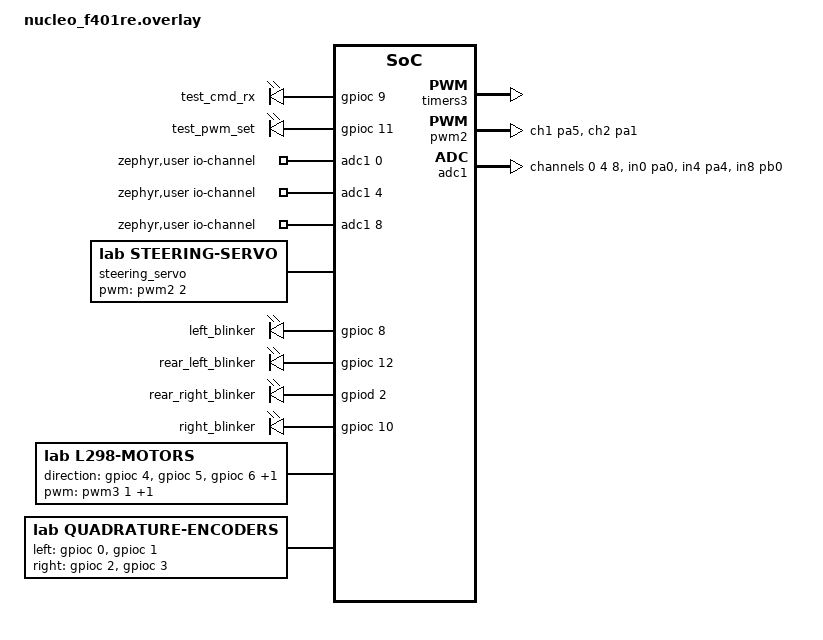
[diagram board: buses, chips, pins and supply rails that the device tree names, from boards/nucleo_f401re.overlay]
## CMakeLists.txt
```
cmake_minimum_required(VERSION 3.20.0)
# The application requires the motor and encoder nodes from this overlay.
if(NOT DTC_OVERLAY_FILE)
  set(DTC_OVERLAY_FILE "${CMAKE_CURRENT_SOURCE_DIR}/boards/nucleo_f401re.overlay")
endif()

find_package(Zephyr REQUIRED HINTS $ENV{ZEPHYR_BASE})
project(lab2)

target_sources(app PRIVATE
  src/current_conversion.c
  src/current_sensor.c
  src/blinker.c
  src/console_status.c
  src/test_points.c
  src/main.c
  src/encoder.c
  src/encoder_monitor.c
  src/motor.c
  src/motor_controller.c
  src/pedal_control.c
  src/quadrature.c
  src/servo.c
  src/uart_receiver.c
  src/uart_protocol.c
  src/uart_status.c
)
target_include_directories(app PRIVATE include)
```

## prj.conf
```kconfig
# Debug output through the board's default ST-LINK virtual COM port.
CONFIG_SERIAL=y
CONFIG_CONSOLE=y
CONFIG_UART_CONSOLE=y
CONFIG_PRINTK=y

# Keep source-level debugging straightforward during bring-up.
CONFIG_DEBUG_OPTIMIZATIONS=y
CONFIG_DEBUG_THREAD_INFO=y
CONFIG_STM32_ENABLE_DEBUG_SLEEP_STOP=y

# Receive framed USART1 commands using an interrupt-driven parser.
CONFIG_UART_INTERRUPT_DRIVEN=y

# Both edges of each quadrature channel are counted by GPIO interrupts.
CONFIG_GPIO=y
CONFIG_PWM=y
CONFIG_ADC=y
```

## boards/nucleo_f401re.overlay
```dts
#include <zephyr/dt-bindings/gpio/gpio.h>
#include <zephyr/dt-bindings/pwm/pwm.h>
#include <zephyr/dt-bindings/adc/adc.h>

/ {
	test_points {
		compatible = "gpio-leds";
		test_cmd_rx: command_rx {
			gpios = <&gpioc 9 GPIO_ACTIVE_HIGH>;
		};
		test_pwm_set: pwm_set {
			gpios = <&gpioc 11 GPIO_ACTIVE_HIGH>;
		};
	};
	zephyr,user {
		/* ACS712 divided outputs: left A0/PA0, right A2/PA4, servo A3/PB0. */
		io-channels = <&adc1 0>, <&adc1 4>, <&adc1 8>;
	};
	steering_servo: steering-servo {
		compatible = "lab,steering-servo";
		/* Initial hobby-servo assumption: 20 ms period (50 Hz), active high. */
		pwms = <&pwm2 2 PWM_MSEC(20) PWM_POLARITY_NORMAL>;
	};
	blinkers {
		compatible = "gpio-leds";
		left_blinker: left_blinker {
			gpios = <&gpioc 8 GPIO_ACTIVE_HIGH>;
		};
		rear_left_blinker: rear_left_blinker {
			gpios = <&gpioc 12 GPIO_ACTIVE_HIGH>;
		};
		rear_right_blinker: rear_right_blinker {
			gpios = <&gpiod 2 GPIO_ACTIVE_HIGH>;
		};
		right_blinker: right_blinker {
			gpios = <&gpioc 10 GPIO_ACTIVE_HIGH>;
		};
	};
	motors {
		compatible = "lab,l298-motors";
		/* ENA/ENB: TIM3 CH1/CH2, 10 kHz (8400 ticks at 84 MHz). */
		pwms = <&pwm3 1 PWM_HZ(10000) PWM_POLARITY_NORMAL>,
		       <&pwm3 2 PWM_HZ(10000) PWM_POLARITY_NORMAL>;
		/* IN1, IN2, IN3, IN4 respectively. */
		direction-gpios = <&gpioc 4 GPIO_ACTIVE_HIGH>,
				  <&gpioc 5 GPIO_ACTIVE_HIGH>,
				  <&gpioc 6 GPIO_ACTIVE_HIGH>,
				  <&gpioc 7 GPIO_ACTIVE_HIGH>;
	};
	/* Weak pull-downs hold disconnected inputs quiet; verify sensor levels. */
	encoders {
		compatible = "lab,quadrature-encoders";
		left-gpios = <&gpioc 0 GPIO_PULL_DOWN>, <&gpioc 1 GPIO_PULL_DOWN>;
		right-gpios = <&gpioc 2 GPIO_PULL_DOWN>, <&gpioc 3 GPIO_PULL_DOWN>;
	};
};

&timers3 {
	status = "okay";
	pwm3: pwm {
		status = "okay";
		pinctrl-0 = <&tim3_ch1_pb4 &tim3_ch2_pb5>;
		pinctrl-names = "default";
	};
};

/* Keep steering on TIM2 so its 50 Hz period cannot change motor TIM3's 10 kHz PWM. */
&pwm2 {
	pinctrl-0 = <&tim2_ch1_pa5 &tim2_ch2_pa1>;
	pinctrl-names = "default";
};

&adc1 {
	pinctrl-0 = <&adc1_in0_pa0 &adc1_in4_pa4 &adc1_in8_pb0>;
	pinctrl-names = "default";
	status = "okay";
	#address-cells = <1>;
	#size-cells = <0>;
	/* Long acquisition time is an initial choice for externally conditioned signals. */
	channel@0 {
		reg = <0>;
		zephyr,gain = "ADC_GAIN_1";
		zephyr,reference = "ADC_REF_INTERNAL";
		zephyr,acquisition-time = <ADC_ACQ_TIME_MAX>;
		zephyr,resolution = <12>;
	};
	channel@4 {
		reg = <4>;
		zephyr,gain = "ADC_GAIN_1";
		zephyr,reference = "ADC_REF_INTERNAL";
		zephyr,acquisition-time = <ADC_ACQ_TIME_MAX>;
		zephyr,resolution = <12>;
	};
	channel@8 {
		reg = <8>;
		zephyr,gain = "ADC_GAIN_1";
		zephyr,reference = "ADC_REF_INTERNAL";
		zephyr,acquisition-time = <ADC_ACQ_TIME_MAX>;
		zephyr,resolution = <12>;
	};
};

/* Reserve PC9 for CMD_RX instead of the board default I2C3 SDA. */
&i2c3 {
	status = "disabled";
};
```

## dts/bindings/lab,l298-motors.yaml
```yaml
description: Two L298 bridges with PWM enables and four direction inputs
compatible: "lab,l298-motors"
include: base.yaml
properties:
  pwms:
    type: phandle-array
    required: true
  direction-gpios:
    type: phandle-array
    required: true
```

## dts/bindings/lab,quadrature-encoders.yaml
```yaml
description: Two software quadrature encoders, A then B for each GPIO pair
compatible: "lab,quadrature-encoders"
include: base.yaml
properties:
  left-gpios:
    type: phandle-array
    required: true
  right-gpios:
    type: phandle-array
    required: true
```

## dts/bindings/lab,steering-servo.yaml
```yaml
description: Steering servo driven by a dedicated hardware PWM channel
compatible: "lab,steering-servo"
include: base.yaml
properties:
  pwms:
    type: phandle-array
    required: true
    description: PWM channel and servo repetition period
```

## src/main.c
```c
/** @file main.c
 * @brief Driver initialization and worker startup.
 */
#include <zephyr/sys/printk.h>
#include "blinker.h"
#include "encoder.h"
#include "encoder_monitor.h"
#include "motor.h"
#include "test_points.h"
#include "motor_controller.h"
#include "uart_receiver.h"
#include "uart_status.h"
#include "servo.h"
#include "current_sensor.h"

/**
 * @brief Initialize drivers and start UART motor control and encoder monitoring.
 * @return 0 after startup, or a negative initialization error.
 */
int main(void)
{
	printk("Lab 2: wheel UART receiver on %s\n", CONFIG_BOARD_TARGET);
	int ret = test_points_init();
	if (ret != 0) {
		printk("Test-point initialization failed: %d\n", ret);
		return ret;
	}
	ret = motors_init();
	if (ret != 0) {
		printk("Motor initialization failed: %d\n", ret);
		return ret;
	}
	printk("Motors initialized in coast\n");
	ret = encoders_init();
	if (ret != 0) {
		printk("Encoder initialization failed: %d\n", ret);
		return ret;
	}
	printk("Encoders: left PC0=A PC1=B; right PC2=A PC3=B (x4)\n");
	ret = blinker_init();
	if (ret != 0) {
		printk("Blinker initialization failed: %d\n", ret);
		return ret;
	}
	ret = servo_init();
	if (ret != 0) {
		printk("Servo initialization failed: %d\n", ret);
		return ret;
	}
	printk("Servo: PA1, trial center=%u us\n", SERVO_CENTER_PULSE_US);
	ret = motor_controller_start();
	if (ret != 0) {
		printk("Speed controller start failed: %d\n", ret);
		return ret;
	}
	/* UART submits commands only after drivers and the PID worker are ready. */
	ret = uart_receiver_start();
	if (ret != 0) {
		printk("UART receiver start failed: %d\n", ret);
		return ret;
	}
	ret = uart_status_start();
	if (ret != 0) {
		int brake_ret = motor_controller_stop();

		printk("UART status start failed: %d; brake=%d\n", ret, brake_ret);
		return ret;
	}
	ret = current_sensor_start();
	if (ret != 0) {
		/* Lab 2 current sensing is read-only; heartbeat reports unavailable data. */
		printk("Current sensor start failed: %d; telemetry unavailable\n", ret);
	}
	ret = encoder_monitor_start();
	if (ret != 0) {
		printk("Encoder monitor start failed: %d\n", ret);
	}
	return ret;
}
```

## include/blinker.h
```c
/** @file blinker.h
 * @brief Mutually exclusive left/right GPIO blinkers.
 */
#ifndef BLINKER_H_
#define BLINKER_H_

#include <stdbool.h>
#include <stdint.h>

/** @brief Normal indicators blink once per second; choose a positive divisor of 500 Hz. */
#define BLINKER_RATE_HZ        1U
/** @brief Equal half-periods give 50% duty; 2 Hz gives 250 ms per phase. */
#define BLINKER_HALF_PERIOD_MS (1000U / (2U * BLINKER_RATE_HZ))
/** @brief Stack bytes; 1024 is an initial budget for GPIO updates and error reporting. */
#define BLINKER_STACK_SIZE     1024
/** @brief Priority 3 lets hazard changes run promptly ahead of routine reporting. */
#define BLINKER_PRIORITY       3

/** @brief The two indicator sides (each has front and rear outputs); enabling one side cancels the other. */
enum blinker_side {
	BLINKER_LEFT,
	BLINKER_RIGHT,
	BLINKER_COUNT
};

/** @brief Per-output timing state; module-owned instances are private. */
struct blinker_state {
	bool enabled;
	bool active;
	bool level;
	int64_t next_edge_ms;
};

/**
 * @brief Initialize all four outputs off and start the worker; call once from main.
 * @return 0 on success, -EALREADY if started, or a negative GPIO error.
 */
int blinker_init(void);

/**
 * @brief Request blinking or steady off; the worker applies changes when scheduled.
 * @param side BLINKER_LEFT or BLINKER_RIGHT.
 * @param enabled True to blink (cancelling the other side), false to turn off; repeated
 *        values preserve blink phase.
 * @return 0 on success, -EINVAL for an invalid side, or -ENODEV before initialization.
 */
int blinker_set(enum blinker_side side, bool enabled);

/** @brief Fault hazards use the required 2 Hz rate, independent of normal indicators. */
#define BLINKER_HAZARD_RATE_HZ 2U
/** @brief Ten degrees is the initial estimated servo displacement for auto-cancel. */
#define BLINKER_CANCEL_DEGREES 10U
/**
 * @brief Override normal indicators with synchronized hazards, clearing normal selections.
 * @param enabled True during any fail-safe or self-test.
 * @return 0 on success, or -ENODEV before initialization.
 */
int blinker_hazards(bool enabled);
/**
 * @brief Toggle a normal indicator; turning one on cancels the other; ignored during hazards.
 * @param side Left or right indicator.
 * @return 0 on success, or a negative argument/state error.
 */
int blinker_toggle(enum blinker_side side);
/**
 * @brief Arm on a turn past the threshold and cancel on its return below the threshold.
 * @param angle_mdeg Commanded servo angle: negative left, positive right.
 */
void blinker_steering(int32_t angle_mdeg);

#endif /* BLINKER_H_ */
```

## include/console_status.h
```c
/** @file console_status.h
 * @brief Fixed, in-place console status rows for periodic diagnostics.
 */
#ifndef CONSOLE_STATUS_H_
#define CONSOLE_STATUS_H_

/** @brief Set to 0 to restore plain scrolling lines for terminals without ANSI support. */
#define CONSOLE_STATUS_INPLACE 1
/** @brief Longest status line in bytes; 160 fits the current PID/ENC/CURRENT formats. */
#define CONSOLE_STATUS_LINE_MAX 160

/** @brief Pinned rows, top to bottom; event messages scroll beneath them. */
enum console_status_row {
	CONSOLE_STATUS_PID,
	CONSOLE_STATUS_ENC,
	CONSOLE_STATUS_CURRENT,
	CONSOLE_STATUS_ROW_COUNT
};

/**
 * @brief Redraw one pinned row if its text changed; never blocks the calling thread.
 * @param row Row to update.
 * @param format printk-style format for the whole row, without a trailing newline.
 */
void console_status_print(enum console_status_row row, const char *format, ...);

#endif /* CONSOLE_STATUS_H_ */
```

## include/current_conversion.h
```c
/** @file current_conversion.h
 * @brief Portable conversion of ADC-pin voltage to signed current.
 */
#ifndef CURRENT_CONVERSION_H_
#define CURRENT_CONVERSION_H_

#include <stdbool.h>
#include <stdint.h>

/** @brief Per-sensor calibration measured at the MCU pin, after any voltage divider. */
struct current_calibration {
	int32_t zero_uv;
	int32_t uv_per_amp;
};

/**
 * @brief Convert voltage to milliamps without inventing an unknown calibration.
 * @param voltage_uv Voltage at the ADC pin in microvolts.
 * @param calibration Zero-current offset and signed sensitivity; zero sensitivity is unset.
 * @param milliamps Output, cleared on failure; limited to the signed 16-bit wire range.
 * @return True on success, false for missing calibration or unrepresentable current.
 */
bool current_conversion_ma(int32_t voltage_uv, const struct current_calibration *calibration,
			   int16_t *milliamps);

#endif /* CURRENT_CONVERSION_H_ */
```

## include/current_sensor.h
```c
/** @file current_sensor.h
 * @brief Read-only left-motor, right-motor, and servo current monitoring.
 */
#ifndef CURRENT_SENSOR_H_
#define CURRENT_SENSOR_H_

#include <stdint.h>

/** @brief Three sensors in wire order: left motor, right motor, servo. */
#define CURRENT_SENSOR_COUNT 3U
/** @brief Sample each input every 10 ms; initial rate for bring-up, not measured timing. */
#define CURRENT_SENSOR_PERIOD_MS 10U
/** @brief Reject data older than 100 ms even if the sampling worker stops progressing. */
#define CURRENT_SENSOR_STALE_MS 100U
/** @brief Nominal ADC reference; replace with measured VDDA for accurate conversion. */
#define CURRENT_SENSOR_REFERENCE_UV 3300000
/** @brief STM32F401 ADC resolution selected for these channels. */
#define CURRENT_SENSOR_RESOLUTION 12U
/** @brief Average four scans (40 ms window) to reduce PWM noise during bring-up. */
#define CURRENT_SENSOR_AVERAGE_SAMPLES 4U
/** @brief Priority 5 keeps sampling below heartbeat, fault handling, and motor PID. */
#define CURRENT_SENSOR_PRIORITY 5
/** @brief Initial sampling-thread stack budget, not a measured high-water mark. */
#define CURRENT_SENSOR_STACK_SIZE 1536
/** @brief Print at 10 Hz so the recorder gets ~10 readings per 1 s stall test. */
#define CURRENT_SENSOR_PRINT_MS 100U

/* ACS712 powered at 5 V, with separate 10k/10k dividers on OUT: ADC voltage = OUT/2.
 * Confirmed 5A modules use nominal 185 mV/A, divided to 92500 uV/A at the ADC.
 * Nominal zero is 1.25 V at the ADC; replace with each measured zero-current voltage.
 * Nominal ADC-pin sensitivities: 5A=92500, 20A=50000, 30A=33000 uV/A.
 * See CURRENT_SENSOR_WIRING.md. Do not use undivided ACS712 sensitivities here.
 */
/** @brief Left zero: idle mean after fixing the buck ground on 10/01, 12 V on, wheels stopped. */
#define CURRENT_SENSOR_LEFT_ZERO_UV 1321300
/** @brief Nominal 185 mV/A halved by 10k/10k; negative: left stall lowered OUT by 61 mV. */
#define CURRENT_SENSOR_LEFT_UV_PER_AMP (-92500)
/** @brief Right zero: idle mean after fixing the buck ground on 10/01, 12 V on, wheels stopped. */
#define CURRENT_SENSOR_RIGHT_ZERO_UV 1334000
/** @brief Nominal 185 mV/A halved by 10k/10k; right stall raised OUT by 96 mV. */
#define CURRENT_SENSOR_RIGHT_UV_PER_AMP 92500
/** @brief Servo zero: idle mean after the buck ground fix on 10/01; includes holding current. */
#define CURRENT_SENSOR_SERVO_ZERO_UV 1325000
/** @brief Nominal 185 mV/A halved by 10k/10k; negative because servo stall lowered OUT. */
#define CURRENT_SENSOR_SERVO_UV_PER_AMP (-92500)

/** @brief Coherent scan; valid bits refer to calibrated current, not sensor presence. */
struct current_sensor_snapshot {
	uint16_t raw[CURRENT_SENSOR_COUNT];
	int32_t voltage_uv[CURRENT_SENSOR_COUNT];
	int16_t milliamps[CURRENT_SENSOR_COUNT];
	uint8_t valid_mask;
	uint8_t sampled_mask;
	int64_t timestamp_ms;
};

/**
 * @brief Configure ADC inputs and start the read-only worker once from main.
 * @return 0 on success or negative initialization error; no actuator state is changed.
 */
int current_sensor_start(void);
/**
 * @brief Copy the latest scan, clearing current validity if stale or not yet sampled.
 * @param out Non-null destination; may be read from thread context before startup.
 */
void current_sensor_snapshot(struct current_sensor_snapshot *out);

#endif /* CURRENT_SENSOR_H_ */
```

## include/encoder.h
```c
/** @file encoder.h
 * @brief Encoder API and constants.
 */
#ifndef ENCODER_H_
#define ENCODER_H_

#include <stdint.h>

/** @brief 1320 measured x4 counts per wheel revolution; do not multiply by four again. */
#define ENCODER_COUNTS_PER_REV 1320

/** @brief Indices for the two wheel channels and their count. */
enum encoder_side {
	ENCODER_LEFT,
	ENCODER_RIGHT,
	ENCODER_COUNT
};

struct encoder_snapshot {
	int64_t counts[ENCODER_COUNT];
	uint32_t invalid_transitions[ENCODER_COUNT];
	uint32_t read_errors;
	int64_t timestamp_ms;
};

/* Call once with wheels stationary. Counts start at zero, not absolute angle. */
/**
 * @brief Initialize both encoders once with the wheels stationary.
 * @return 0 on success, or a negative initialization error.
 */
int encoders_init(void);
/* Thread-context coherent snapshot of both wheels; caller supplies storage. */
/**
 * @brief Copy a coherent encoder snapshot from thread context.
 * @param out Non-null caller-owned destination.
 */
void encoders_snapshot(struct encoder_snapshot *out);

#endif /* ENCODER_H_ */
```

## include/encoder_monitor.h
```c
/** @file encoder_monitor.h
 * @brief Encoder monitor API and constants.
 */
#ifndef ENCODER_MONITOR_H_
#define ENCODER_MONITOR_H_

/** @brief Report every 100 ms to retain the existing 10 Hz console rate. */
#define ENCODER_MONITOR_PERIOD_MS 100
/** @brief Stack bytes; 1536 is an initial budget for snapshot calculations and printing. */
#define ENCODER_MONITOR_STACK_SIZE 1536
/** @brief Priority 6 lets the priority-5 UART worker run before reporting. */
#define ENCODER_MONITOR_PRIORITY 6

/**
 * @brief Start reporting once, after encoders_init(); call from main only.
 * @return 0 when started, or -EALREADY if already started.
 */
int encoder_monitor_start(void);

#endif /* ENCODER_MONITOR_H_ */
```

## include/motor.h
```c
/** @file motor.h
 * @brief Motor API and constants.
 */
#ifndef MOTOR_H_
#define MOTOR_H_

#include <stdint.h>

/** @brief Full duty is 65535 to preserve every step of the 16-bit throttle range. */
#define MOTOR_DUTY_FULL_SCALE 65535U

/** @brief Indices for the two wheel channels and their count. */
enum motor_side {
	MOTOR_LEFT,
	MOTOR_RIGHT,
	MOTOR_COUNT
};

/* Thread context only. Calls serialize; never invoke from a GPIO/UART ISR.
 * Errors are negative errno values. Initialization leaves both enables LOW.
 * This driver provides output control, not a PID loop or link-loss watchdog.
 */
/**
 * @brief Initialize both motor outputs in coast; call from thread context.
 * @return 0 on success, or a negative initialization error.
 */
int motors_init(void);

/* Signed duty in thousandths: +200 = 20%, -200 = reverse 20%, 0 = coast.
 * Out-of-range values are rejected without changing outputs.
 * -EPERM while brake latched, -EIO after a hardware fault.
 * Direct powered reversal returns -EBUSY: coast/brake and wait for the
 * encoder to show a stopped wheel before requesting the opposite direction.
 */
/**
 * @brief Set motor duty in signed thousandths from thread context.
 * @param side MOTOR_LEFT or MOTOR_RIGHT.
 * @param duty_permille Duty in -1000..1000; zero coasts.
 * @return 0 on success, or a negative error; see motor.h for interlocks.
 */
int motor_drive(enum motor_side side, int duty_permille);

/**
 * @brief Set signed duty, rounded to the nearest available PWM tick.
 * @param side MOTOR_LEFT or MOTOR_RIGHT.
 * @param duty_raw Signed duty in -65535..65535; zero coasts.
 * @return 0 on success, or a negative error; see motor.h for interlocks.
 */
int motor_drive_raw(enum motor_side side, int32_t duty_raw);

/* Latch braking on BOTH wheels: equal direction inputs and enable HIGH.
 * Subsequent drive commands cannot override it. Hardware failures attempt
 * to disable both enables instead; software cannot guarantee a failed output.
 */
/**
 * @brief Latch braking on both wheels until explicitly released.
 * @return 0 on success, or a negative motor error.
 */
int motors_brake(void);

/**
 * @brief Latch proportional dynamic braking on both wheels using enable PWM.
 * @param duty_raw Brake duty in 1..65535; release through motors_release_brake().
 * @return 0 on success, or a negative argument/driver error.
 */
int motors_brake_raw(uint32_t duty_raw);

/* Clear braking into coast, never automatically resume a previous duty. */
/**
 * @brief Clear the brake latch into coast without resuming old duty.
 * @return 0 on success, or a negative motor error.
 */
int motors_release_brake(void);

/* Disable both enables. Does not override a latched brake (-EPERM). */
/**
 * @brief Disable both enables without overriding a latched brake.
 * @return 0 on success, -EPERM while braking, or a driver error.
 */
int motors_coast(void);

#endif /* MOTOR_H_ */
```

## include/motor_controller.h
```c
/** @file motor_controller.h
 * @brief Encoder speed PID configuration and motor-controller API.
 */
#ifndef MOTOR_CONTROLLER_H_
#define MOTOR_CONTROLLER_H_

#include <stdbool.h>
#include <stdint.h>
#include "uart_protocol.h"

/** @brief Full-throttle wheel speed; 120 RPM is an unmeasured initial tuning value. */
#define MOTOR_PID_MAX_RPM 120U
/** @brief Update at 50 Hz; 20 ms is the initial control-loop sampling period. */
#define MOTOR_PID_PERIOD_MS 20U
/** @brief Expire commands after three missed 20 ms updates, matching the UART watchdog. */
#define MOTOR_PID_COMMAND_TIMEOUT_MS UART_LINK_TIMEOUT_MS
/** @brief Raise target speed by 120 RPM/s initially; decreases bypass this ramp. */
#define MOTOR_PID_ACCEL_RPM_PER_SEC 120U
/** @brief Speed low-pass time constant; 80 ms initially smooths encoder quantization. */
#define MOTOR_PID_SPEED_FILTER_MS 80U
/** @brief Derivative low-pass time constant; 40 ms initially suppresses edge noise. */
#define MOTOR_PID_D_FILTER_MS 40U

/* Gain macros are real gains multiplied by 1000; tune each motor independently.
 * Kp units: duty-permille / RPM. Ki: duty-permille / (RPM*s).
 * Kd: duty-permille*s / RPM. Example: KP_MILLI=4000 means Kp=4.0.
 */
/** @brief Initial left Kp=4.0 permille/RPM; unmeasured starting gain. */
#define MOTOR_PID_LEFT_KP_MILLI 4000
/** @brief Initial left Ki=0.8 permille/(RPM*s); unmeasured starting gain. */
#define MOTOR_PID_LEFT_KI_MILLI 800
/** @brief Initial left Kd=0.02 permille*s/RPM; unmeasured starting gain. */
#define MOTOR_PID_LEFT_KD_MILLI 20
/** @brief Initial right Kp=4.0 permille/RPM; tune separately from the left motor. */
#define MOTOR_PID_RIGHT_KP_MILLI 4000
/** @brief Initial right Ki=0.8 permille/(RPM*s); tune separately from the left motor. */
#define MOTOR_PID_RIGHT_KI_MILLI 800
/** @brief Initial right Kd=0.02 permille*s/RPM; tune separately from the left motor. */
#define MOTOR_PID_RIGHT_KD_MILLI 20

/** @brief Allow up to 100% PWM, retaining the previous full-throttle output limit. */
#define MOTOR_PID_MAX_DUTY_PERMILLE 1000
/** @brief Limit integral contribution to +/-40% duty; initial anti-windup bound. */
#define MOTOR_PID_I_LIMIT_PERMILLE 400
/** @brief Feedforward offset is 50% duty from the observed starting threshold. */
#define MOTOR_PID_FF_START_PERMILLE 500
/** @brief Add up to 30% duty with speed demand; initial estimate leaves PID headroom. */
#define MOTOR_PID_FF_SPAN_PERMILLE 300
/** @brief Negate left feedback: observed counts decrease under the forward drive command. */
#define MOTOR_PID_LEFT_ENCODER_SIGN (-1)
/** @brief Forward encoder sign; change to -1 if forward right counts decrease. */
#define MOTOR_PID_RIGHT_ENCODER_SIGN 1

/** @brief Treat under 2 RPM as near-stationary; initial stall detection threshold. */
#define MOTOR_PID_STALL_RPM 2U
/** @brief Check for stalls above 5 RPM demand; initial allowance for very slow commands. */
#define MOTOR_PID_STALL_TARGET_RPM 5U
/** @brief Check for stalls from 50% duty, matching the observed starting effort. */
#define MOTOR_PID_STALL_DUTY_PERMILLE 500U
/** @brief Stop both motors after 1500 ms near-stationary under drive; initial tuning value. */
#define MOTOR_PID_STALL_TIMEOUT_MS 1500U
/** @brief Reject sustained reverse feedback below -5 RPM; initial direction-check threshold. */
#define MOTOR_PID_REVERSE_RPM 5U
/** @brief Allow 200 ms of reverse feedback before stopping; initial noise grace interval. */
#define MOTOR_PID_REVERSE_TIMEOUT_MS 200U
/** @brief More than eight invalid transitions per sample faults; initial encoder-noise limit. */
#define MOTOR_PID_MAX_INVALID_EDGES 8U
/** @brief Reject samples above 10000 RPM as implausible; initial arithmetic/sensor guard. */
#define MOTOR_PID_MAX_FEEDBACK_RPM 10000U
/** @brief Log PID target, feedback, and duty at 5 Hz to keep console traffic modest. */
#define MOTOR_PID_PRINT_MS 200U
/** @brief Stack bytes; 2048 is an initial budget for PID math and diagnostics. */
#define MOTOR_PID_STACK_SIZE 2048
/** @brief Priority 4 runs PID below priority-3 fault handling and above routine reporting. */
#define MOTOR_PID_PRIORITY 4

/** @brief Fixed-point gains; each real gain is multiplied by 1000. */
struct motor_pid_gains {
	int32_t kp;
	int32_t ki;
	int32_t kd;
};

/** @brief Private controller instances use these per-wheel accumulator fields. */
struct motor_pid_state {
	int64_t speed_mrpm;
	int64_t derivative_mrpm_per_s;
	int64_t integral;
	int64_t stall_ms;
	int64_t reverse_ms;
	uint32_t duty;
};

/**
 * @brief Start the speed-control worker after motor and encoder initialization.
 * @return 0 on success, or -EALREADY if already started.
 */
int motor_controller_start(void);

/**
 * @brief Submit speed and braking together; nonzero braking overrides forward drive.
 * @param target_mrpm Requested wheel speed in millirpm, up to MOTOR_PID_MAX_RPM * 1000.
 * @param brake_raw Electrical brake duty in 0..65535; zero releases pedal braking.
 * @param received_ms Actual packet reception uptime; repeated calls do not refresh its age.
 * @return 0 on success, or -EINVAL, -ESTALE, -ENODEV, or -EIO for rejected commands.
 */
int motor_controller_set_target(uint32_t target_mrpm, uint32_t brake_raw, int64_t received_ms);

/**
 * @brief Latch the controller off and brake both motors; reset is required to restart.
 * @return 0 on successful brake, or a negative motor-driver error.
 */
int motor_controller_stop(void);

/**
 * @brief Temporarily brake; a fresh accepted target releases this inhibition.
 * @return 0 on success, or a negative motor-driver error.
 */
int motor_controller_inhibit(void);
/**
 * @brief Query whether a permanent controller or motor fault needs reset.
 * @return True for a latched hardware/PID fault.
 */
bool motor_controller_faulted(void);

#endif /* MOTOR_CONTROLLER_H_ */
```

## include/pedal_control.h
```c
/** @file pedal_control.h
 * @brief Pedal calibration and wheel-speed request API.
 */
#ifndef PEDAL_CONTROL_H_
#define PEDAL_CONTROL_H_

#include <stdint.h>

/** @brief Ignore the first 2% of full raw travel to reject released-pedal jitter. */
#define PEDAL_DEADBAND_RAW 1311U
/** @brief Full 16-bit pedal travel spans 65535 increments between the measured endpoints. */
#define PEDAL_TRAVEL_FULL_SCALE 65535U

/** @brief Raw 20000 gives full braking, matching the stiff pedal's requested usable travel. */
#define PEDAL_BRAKE_FULL_RAW 20000

/**
 * @brief Map the shorter brake travel to electrical braking duty.
 * @param brake Raw reading: 32767 released, 20000 or lower fully braked.
 * @return Duty in 0..65535 with the released-end deadband removed.
 */
uint32_t pedal_control_brake(int16_t brake);

/**
 * @brief Map throttle to wheel speed; any brake request overrides forward drive.
 * @param throttle Raw throttle: 32767 released, -32768 fully pressed.
 * @param brake Raw brake: 32767 released, 20000 or lower fully braked.
 * @return Millirpm in 0..MOTOR_PID_MAX_RPM * 1000; released throttle or any braking gives zero.
 */
uint32_t pedal_control_target(int16_t throttle, int16_t brake);

#endif /* PEDAL_CONTROL_H_ */
```

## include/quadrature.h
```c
/** @file quadrature.h
 * @brief Quadrature API and constants.
 */
#ifndef QUADRATURE_H_
#define QUADRATURE_H_

#include <stdint.h>

/**
 * @brief Decode one x4 edge; repeated states and ambiguous two-bit jumps count zero.
 * @param previous Previous (A << 1) | B state, in 0..3.
 * @param current Current (A << 1) | B state, in 0..3.
 * @return +1 for 00->01->11->10->00, -1 in reverse, otherwise 0.
 */
int quadrature_step(uint8_t previous, uint8_t current);

#endif /* QUADRATURE_H_ */
```

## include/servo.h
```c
/** @file servo.h
 * @brief Steering-servo calibration and PWM API.
 */
#ifndef SERVO_H_
#define SERVO_H_

#include <stdint.h>

/** @brief LD-1501MG requires a 20 ms PWM frame, equivalent to 50 Hz. */
#define SERVO_PERIOD_US 20000U
/** @brief Ignore changes under 3 us (0.27 degrees); initial noise tuning, 0 disables it. */
#define SERVO_UPDATE_DEADBAND_US 3U

/** @brief Left limit: buzz began at steer -20220 (~883 us) on 10/01; 910 adds ~30 us margin. */
#define SERVO_MIN_PULSE_US    910U
/** @brief LD-1501MG nominal midpoint is 1500 us; adjust for mechanical centering. */
#define SERVO_CENTER_PULSE_US 1500U
/** @brief Right limit: buzz began at steer 20703 (~2132 us) on 10/01; 2100 adds ~30 us margin. */
#define SERVO_MAX_PULSE_US    2100U
/** @brief Set to 1 to reverse steering; initial 0 maps wheel-left to the shorter pulse. */
#define SERVO_REVERSED        0

/**
 * @brief Initialize the PWM output at the configured center; call once from main.
 * @return 0 on success, -EALREADY if initialized, or a negative device/configuration error.
 */
int servo_init(void);

/**
 * @brief Map steering into pulse limits with a small change deadband; hardware repeats PWM.
 * @param steering Signed wheel position: -32768 left, 0 center, 32767 right.
 * @return 0 on success, -ENODEV before initialization, or a negative PWM error.
 */
int servo_set_steering(int16_t steering);

/**
 * @brief Stop sending servo pulses; mechanical holding behavior depends on the servo model.
 * @return 0 on success, -ENODEV before initialization, or a negative PWM error.
 */
int servo_disable(void);

/** @brief LD-1501MG nominal travel is 180 degrees over a 2000 us pulse span. */
#define SERVO_MDEG_PER_US 90
/**
 * @brief Estimate commanded angle relative to center, without physical feedback.
 * @param steering Signed wheel position.
 * @return Millidegrees: negative for logical left, positive for logical right.
 */
int32_t servo_angle_mdeg(int16_t steering);

#endif /* SERVO_H_ */
```

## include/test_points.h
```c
/** @file test_points.h
 * @brief Scope markers for command reception and right-motor timer writes.
 */
#ifndef TEST_POINTS_H_
#define TEST_POINTS_H_

/** @brief Configure markers low before motor initialization or UART interrupts.
 * @return 0 on success, or a negative GPIO error.
 */
int test_points_init(void);
/** @brief Toggle CMD_RX from the UART ISR after a CRC-valid command frame. */
void test_points_command_received(void);
/** @brief Toggle PWM_SET immediately after a successful right-motor timer write. */
void test_points_pwm_written(void);

#endif /* TEST_POINTS_H_ */
```
